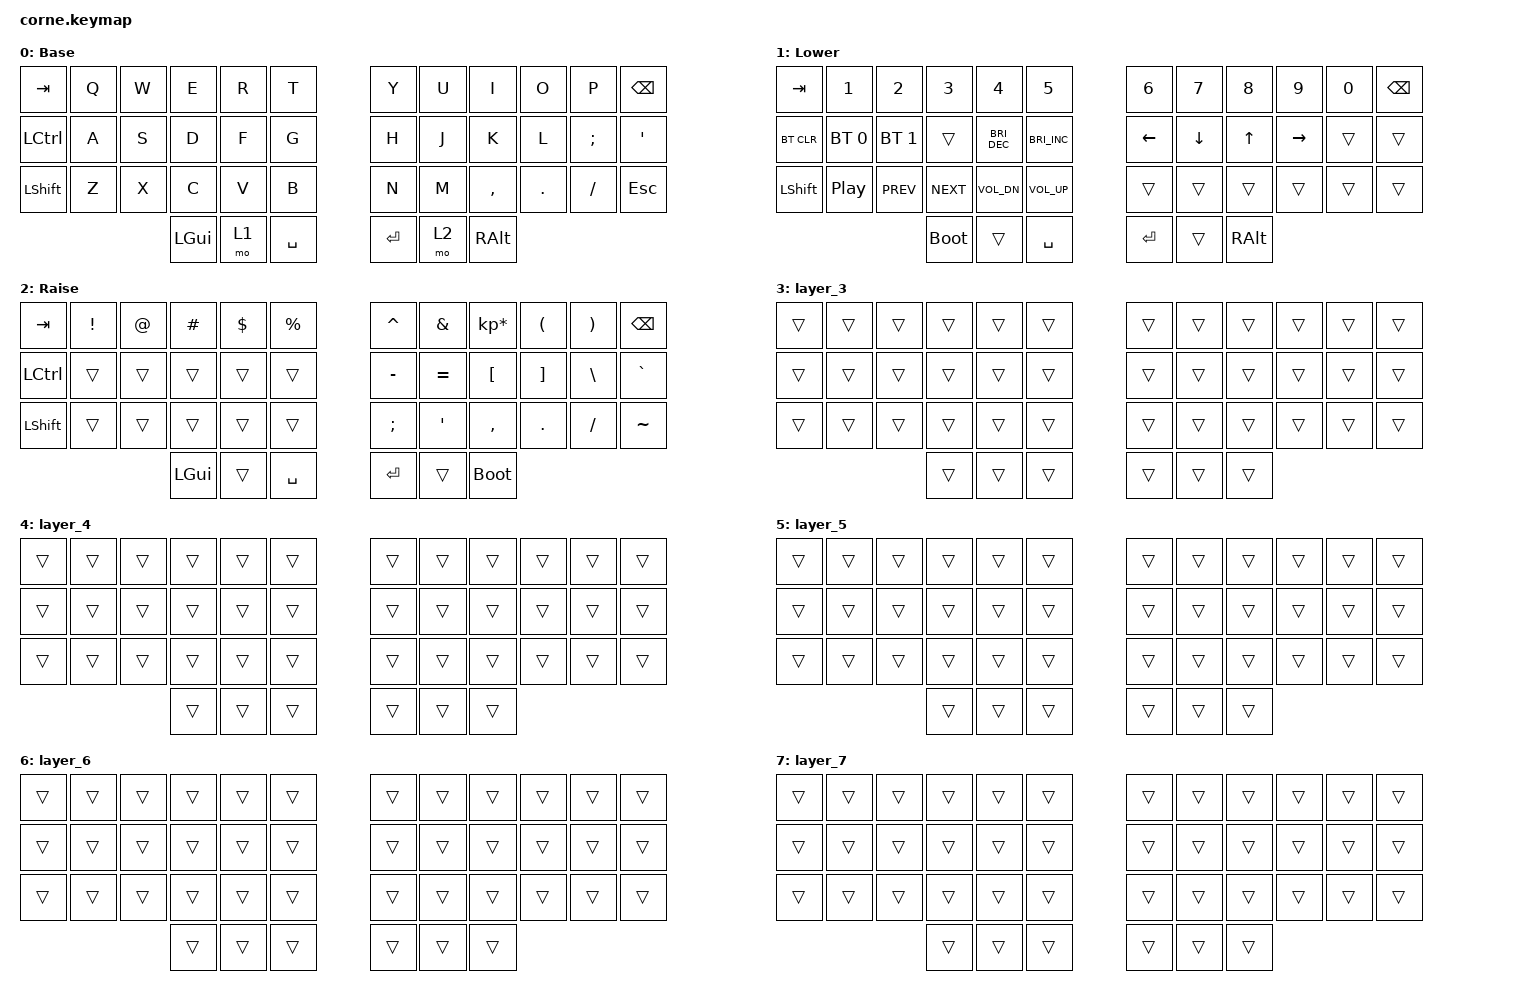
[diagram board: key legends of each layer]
/*
 * Copyright (c) 2020 The ZMK Contributors
 *
 * SPDX-License-Identifier: MIT
 *
 */

#include <behaviors.dtsi>
#include <dt-bindings/zmk/bt.h>
#include <dt-bindings/zmk/keys.h>

/ {
    keymap {
        compatible = "zmk,keymap";

        default_layer {
            // -----------------------------------------------------------------------------------------
            // |  TAB |  Q  |  W  |  E  |  R  |  T  |   |  Y  |  U   |  I  |  O  |  P  | BKSP |
            // | CTRL |  A  |  S  |  D  |  F  |  G  |   |  H  |  J   |  K  |  L  |  ;  |  '   |
            // | SHFT |  Z  |  X  |  C  |  V  |  B  |   |  N  |  M   |  ,  |  .  |  /  | ESC  |
            //                    | GUI | LWR | SPC |   | ENT | RSE  | ALT |

            label = "Base";
            bindings = <
&kp TAB    &kp Q  &kp W  &kp E     &kp R  &kp T        &kp Y    &kp U  &kp I      &kp O    &kp P     &kp BSPC
&kp LCTRL  &kp A  &kp S  &kp D     &kp F  &kp G        &kp H    &kp J  &kp K      &kp L    &kp SEMI  &kp SQT
&kp LSHFT  &kp Z  &kp X  &kp C     &kp V  &kp B        &kp N    &kp M  &kp COMMA  &kp DOT  &kp FSLH  &kp ESC
                         &kp LGUI  &mo 1  &kp SPACE    &kp RET  &mo 2  &kp RALT
            >;
        };

        lower_layer {
            // -----------------------------------------------------------------------------------------
            // |  TAB |  1  |  2  |  3  |  4  |  5  |   |  6  |  7  |  8  |  9  |  0  | BKSP |
            // | BTCLR| BT1 | BT2 | BT3 | BT4 | BT5 |   | LFT | DWN |  UP | RGT |     |      |
            // | SHFT |STDUL|     |     |     |   |     |     |     |     |     |      |
            //                    |BTCLR|     | SPC |   | ENT |     | ALT |

            label = "Lower";
            bindings = <
&kp TAB     &kp N1            &kp N2        &kp N3       &kp N4                &kp N5                  &kp N6    &kp N7    &kp N8    &kp N9     &kp N0  &kp BSPC
&bt BT_CLR  &bt BT_SEL 0      &bt BT_SEL 1  &trans       &kp C_BRIGHTNESS_DEC  &kp C_BRIGHTNESS_INC    &kp LEFT  &kp DOWN  &kp UP    &kp RIGHT  &trans  &trans
&kp LSHFT   &kp C_PLAY_PAUSE  &kp C_PREV    &kp C_NEXT   &kp C_VOL_DN          &kp C_VOLUME_UP         &trans    &trans    &trans    &trans     &trans  &trans
                                            &bootloader  &trans                &kp SPACE               &kp RET   &trans    &kp RALT
            >;
        };

        raise_layer {
            // -----------------------------------------------------------------------------------------
            // |  TAB |  !  |  @  |  #  |  $  |  %  |   |  ^  |  &  |  *  |  (  |  )  | BKSP |
            // | CTRL |     |     |     |     |     |   |  -  |  =  |  [  |  ]  |  \  |  `   |
            // | SHFT |     |     |     |     |     |   |  _  |  +  |  {  |  }  | "|" |  ~   |
            //                    | GUI |     | SPC |   | ENT |     | ALT |

            label = "Raise";
            bindings = <
&kp TAB    &kp EXCL  &kp AT  &kp HASH  &kp DLLR  &kp PRCNT    &kp CARET      &kp AMPS   &kp KP_MULTIPLY  &kp LPAR    &kp RPAR   &kp BSPC
&kp LCTRL  &trans    &trans  &trans    &trans    &trans       &kp MINUS      &kp EQUAL  &kp LBKT         &kp RBKT    &kp BSLH   &kp GRAVE
&kp LSHFT  &trans    &trans  &trans    &trans    &trans       &kp SEMICOLON  &kp SQT    &kp COMMA        &kp PERIOD  &kp SLASH  &kp TILDE
                             &kp LGUI  &trans    &kp SPACE    &kp RET        &trans     &bootloader
            >;
        };

        layer_3 {
            bindings = <
&trans  &trans  &trans  &trans  &trans  &trans    &trans  &trans  &trans  &trans  &trans  &trans
&trans  &trans  &trans  &trans  &trans  &trans    &trans  &trans  &trans  &trans  &trans  &trans
&trans  &trans  &trans  &trans  &trans  &trans    &trans  &trans  &trans  &trans  &trans  &trans
                        &trans  &trans  &trans    &trans  &trans  &trans
            >;
        };

        layer_4 {
            bindings = <
&trans  &trans  &trans  &trans  &trans  &trans    &trans  &trans  &trans  &trans  &trans  &trans
&trans  &trans  &trans  &trans  &trans  &trans    &trans  &trans  &trans  &trans  &trans  &trans
&trans  &trans  &trans  &trans  &trans  &trans    &trans  &trans  &trans  &trans  &trans  &trans
                        &trans  &trans  &trans    &trans  &trans  &trans
            >;
        };

        layer_5 {
            bindings = <
&trans  &trans  &trans  &trans  &trans  &trans    &trans  &trans  &trans  &trans  &trans  &trans
&trans  &trans  &trans  &trans  &trans  &trans    &trans  &trans  &trans  &trans  &trans  &trans
&trans  &trans  &trans  &trans  &trans  &trans    &trans  &trans  &trans  &trans  &trans  &trans
                        &trans  &trans  &trans    &trans  &trans  &trans
            >;
        };

        layer_6 {
            bindings = <
&trans  &trans  &trans  &trans  &trans  &trans    &trans  &trans  &trans  &trans  &trans  &trans
&trans  &trans  &trans  &trans  &trans  &trans    &trans  &trans  &trans  &trans  &trans  &trans
&trans  &trans  &trans  &trans  &trans  &trans    &trans  &trans  &trans  &trans  &trans  &trans
                        &trans  &trans  &trans    &trans  &trans  &trans
            >;
        };

        layer_7 {
            bindings = <
&trans  &trans  &trans  &trans  &trans  &trans    &trans  &trans  &trans  &trans  &trans  &trans
&trans  &trans  &trans  &trans  &trans  &trans    &trans  &trans  &trans  &trans  &trans  &trans
&trans  &trans  &trans  &trans  &trans  &trans    &trans  &trans  &trans  &trans  &trans  &trans
                        &trans  &trans  &trans    &trans  &trans  &trans
            >;
        };
    };
};
